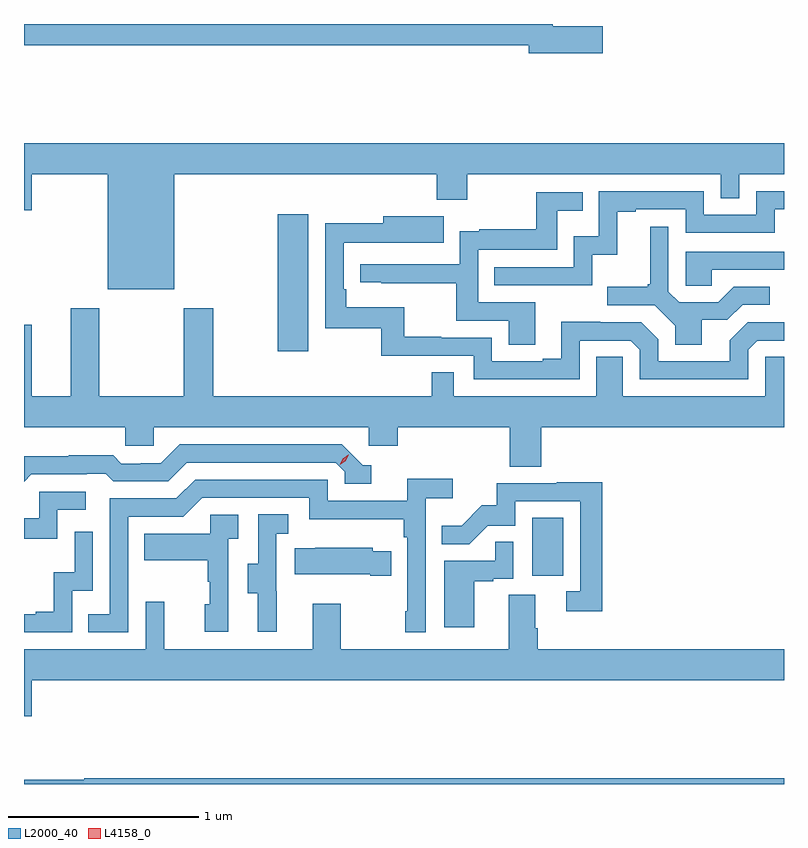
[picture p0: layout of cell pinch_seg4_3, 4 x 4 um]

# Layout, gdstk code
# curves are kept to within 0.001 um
import gdstk
lib = gdstk.Library(unit=1e-6, precision=1e-09)
def R(c, l, rs):  # rectangles x0, y0, x1, y1
    for r in rs: c.add(gdstk.rectangle(r[:2], r[2:], *l))
def P(c, l, *ps):  # polygons
    for p in ps: c.add(gdstk.Polygon(p, *l))
L2000_40 = (2000, 40)
L4158_0 = (4158, 0)

pinch_seg4_3 = lib.new_cell('pinch_seg4_3')
R(pinch_seg4_3, L2000_40, [(1102.868,822.678,1103.032,822.985), (1101.53,823.86,1101.691,824.581)])
P(pinch_seg4_3, L2000_40, [(1103.239,825.572),(1102.978,825.572),(1102.978,825.583),(1100.194,825.583),(1100.194,825.472),(1102.85,825.472),(1102.85,825.43),(1103.239,825.43)],
  [(1100.986,824.792),(1102.367,824.792),(1102.367,824.657),(1102.527,824.657),(1102.527,824.792),(1103.862,824.792),(1103.862,824.665),(1103.958,824.665),(1103.958,824.792),(1104.194,824.792),(1104.194,824.956),(1100.194,824.956),(1100.194,824.604),(1100.236,824.604),(1100.236,824.792),(1100.636,824.792),(1100.636,824.186),(1100.986,824.186)],
  [(1103.184,824.369),(1103.317,824.369),(1103.317,824.595),(1103.413,824.595),(1103.413,824.607),(1103.676,824.607),(1103.676,824.484),(1104.144,824.484),(1104.144,824.607),(1104.194,824.607),(1104.194,824.703),(1104.048,824.703),(1104.048,824.58),(1103.772,824.58),(1103.772,824.703),(1103.22,824.703),(1103.22,824.467),(1103.088,824.467),(1103.088,824.304),(1102.669,824.304),(1102.669,824.208),(1103.184,824.208)],
  [(1102.885,824.118),(1102.584,824.118),(1102.584,824.394),(1103.001,824.394),(1103.001,824.6),(1103.135,824.6),(1103.135,824.697),(1102.89,824.697),(1102.89,824.503),(1102.591,824.503),(1102.591,824.491),(1102.488,824.491),(1102.488,824.319),(1101.963,824.319),(1101.963,824.223),(1102.075,824.223),(1102.075,824.218),(1102.468,824.218),(1102.468,824.022),(1102.745,824.022),(1102.745,823.894),(1102.885,823.894)],
  [(1103.118,823.917),(1103.388,823.917),(1103.436,823.869),(1103.436,823.713),(1104.006,823.713),(1104.006,823.869),(1104.054,823.917),(1104.194,823.917),(1104.194,824.013),(1104.003,824.013),(1103.909,823.919),(1103.909,823.809),(1103.532,823.809),(1103.532,823.923),(1103.442,824.013),(1103.226,824.013),(1103.226,824.015),(1103.021,824.015),(1103.021,823.822),(1102.925,823.822),(1102.925,823.809),(1102.656,823.809),(1102.656,823.932),(1102.391,823.932),(1102.391,823.937),(1102.195,823.937),(1102.195,824.092),(1101.89,824.092),(1101.89,824.188),(1101.876,824.188),(1101.876,824.433),(1102.403,824.432),(1102.403,824.572),(1102.085,824.572),(1102.085,824.534),(1101.78,824.534),(1101.78,823.983),(1102.074,823.983),(1102.074,823.836),(1102.56,823.836),(1102.56,823.713),(1103.118,823.713)],
  [(1103.761,824.026),(1103.896,824.026),(1103.976,824.106),(1104.118,824.106),(1104.118,824.199),(1103.93,824.199),(1103.849,824.118),(1103.643,824.118),(1103.586,824.175),(1103.586,824.515),(1103.489,824.515),(1103.489,824.212),(1103.478,824.212),(1103.478,824.2),(1103.265,824.2),(1103.265,824.103),(1103.514,824.103),(1103.621,823.996),(1103.621,823.894),(1103.761,823.894)],
  [(1103.813,824.289),(1104.194,824.289),(1104.194,824.385),(1103.676,824.385),(1103.676,824.205),(1103.813,824.205)],
  [(1102.916,823.46),(1104.194,823.46),(1104.194,823.832),(1104.096,823.832),(1104.096,823.624),(1103.346,823.624),(1103.346,823.832),(1103.207,823.832),(1103.207,823.624),(1102.455,823.624),(1102.455,823.751),(1102.339,823.751),(1102.339,823.624),(1101.189,823.624),(1101.189,824.086),(1101.034,824.086),(1101.034,823.624),(1100.589,823.624),(1100.589,824.086),(1100.441,824.086),(1100.441,823.624),(1100.236,823.624),(1100.236,823.999),(1100.194,823.999),(1100.194,823.46),(1100.727,823.46),(1100.727,823.362),(1100.877,823.362),(1100.877,823.46),(1102.008,823.46),(1102.008,823.362),(1102.16,823.362),(1102.16,823.46),(1102.751,823.46),(1102.751,823.252),(1102.916,823.252)],
  [(1102.021,823.26),(1101.978,823.26),(1101.867,823.371),(1101.014,823.371),(1100.915,823.272),(1100.808,823.272),(1100.808,823.269),(1100.705,823.269),(1100.663,823.312),(1100.43,823.312),(1100.43,823.309),(1100.194,823.309),(1100.194,823.174),(1100.232,823.212),(1100.525,823.212),(1100.525,823.215),(1100.624,823.215),(1100.663,823.176),(1100.952,823.176),(1101.051,823.275),(1101.834,823.275),(1101.882,823.227),(1101.882,823.164),(1102.021,823.164)],
  [(1100.742,822.99),(1101.033,822.99),(1101.132,823.089),(1101.696,823.089),(1101.696,822.977),(1102.192,822.977),(1102.192,822.881),(1102.212,822.881),(1102.212,822.493),(1102.2,822.493),(1102.2,822.381),(1102.308,822.381),(1102.308,823.088),(1102.45,823.088),(1102.45,823.19),(1102.211,823.19),(1102.211,823.074),(1101.792,823.074),(1101.792,823.185),(1101.095,823.185),(1100.996,823.086),(1100.646,823.086),(1100.646,822.477),(1100.533,822.477),(1100.533,822.381),(1100.742,822.381)],
  [(1103.237,823.172),(1102.999,823.172),(1102.999,823.167),(1102.681,823.167),(1102.681,823.05),(1102.604,823.05),(1102.497,822.943),(1102.393,822.943),(1102.393,822.844),(1102.537,822.844),(1102.635,822.942),(1102.779,822.942),(1102.779,823.071),(1103.121,823.071),(1103.121,822.597),(1103.049,822.597),(1103.049,822.492),(1103.237,822.492)],
  [(1100.37,823.026),(1100.518,823.026),(1100.518,823.122),(1100.274,823.122),(1100.274,822.981),(1100.194,822.981),(1100.194,822.873),(1100.37,822.873)],
  [(1101.524,822.597),(1101.522,822.597),(1101.522,822.901),(1101.586,822.901),(1101.586,823.004),(1101.426,823.004),(1101.426,822.741),(1101.371,822.741),(1101.371,822.586),(1101.425,822.586),(1101.425,822.384),(1101.524,822.384)],
  [(1101.27,822.875),(1101.322,822.875),(1101.322,822.999),(1101.174,822.999),(1101.174,822.901),(1100.827,822.901),(1100.827,822.761),(1101.162,822.761),(1101.162,822.647),(1101.172,822.647),(1101.172,822.528),(1101.146,822.528),(1101.146,822.384),(1101.27,822.384)],
  [(1100.448,822.6),(1100.556,822.6),(1100.556,822.91),(1100.46,822.91),(1100.46,822.698),(1100.351,822.698),(1100.351,822.49),(1100.255,822.49),(1100.255,822.477),(1100.194,822.477),(1100.194,822.381),(1100.448,822.381)],
  [(1102.564,822.651),(1102.664,822.651),(1102.664,822.663),(1102.77,822.663),(1102.77,822.857),(1102.675,822.857),(1102.675,822.759),(1102.406,822.759),(1102.406,822.408),(1102.564,822.408)],
  [(1102.127,822.808),(1102.029,822.808),(1102.029,822.826),(1101.727,822.826),(1101.727,822.823),(1101.619,822.823),(1101.619,822.686),(1102.016,822.686),(1102.016,822.679),(1102.127,822.679)],
  [(1100.236,822.128),(1104.194,822.128),(1104.194,822.292),(1102.898,822.292),(1102.898,822.404),(1102.885,822.404),(1102.885,822.578),(1102.745,822.578),(1102.745,822.292),(1101.861,822.292),(1101.861,822.532),(1101.713,822.532),(1101.713,822.292),(1100.933,822.292),(1100.933,822.541),(1100.835,822.541),(1100.835,822.292),(1100.194,822.292),(1100.194,821.94),(1100.236,821.94)],
  [(1104.194,821.612),(1100.51,821.612),(1100.51,821.605),(1100.194,821.605),(1100.194,821.583),(1104.194,821.583)])
P(pinch_seg4_3, L4158_0, [(1101.855,823.263),(1101.855,823.263),(1101.871,823.296),(1101.901,823.316),(1101.902,823.316),(1101.902,823.316),(1101.886,823.283),(1101.856,823.263)])

lib.write_gds('pinch_seg4_3.gds')
